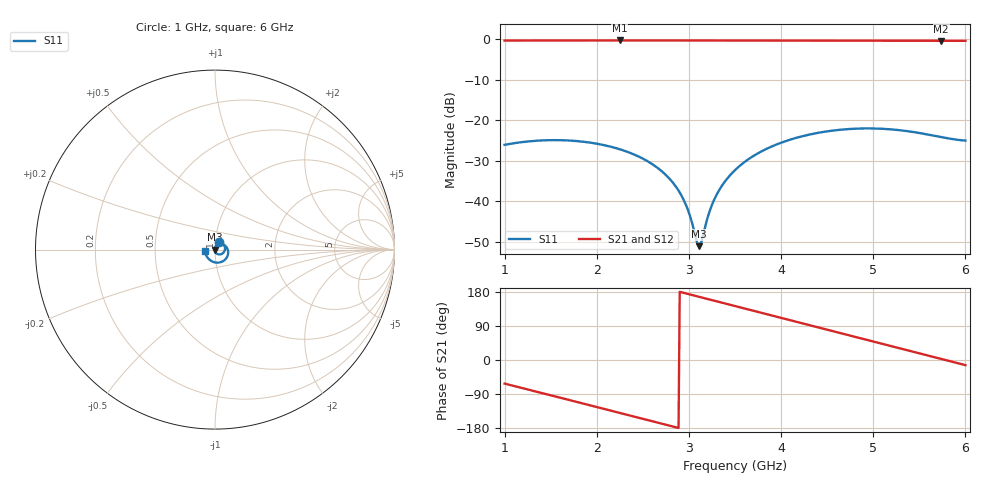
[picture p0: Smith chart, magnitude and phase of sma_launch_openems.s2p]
! kicad2ems openEMS FDTD (sma_launch); not computed (written as 0): S(P2,P2)
! ports: 1=P1, 2=P2
# Hz S RI R 50
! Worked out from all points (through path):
!   401 points, 1 GHz to 6 GHz, reference 50 ohm
!   highest |S21| = -0.29 dB at 2.25 GHz (marker M1); lowest = -0.4 dB at 5.737 GHz (marker M2)
!   group delay of S21, straight-line fit = 173 ps
!   lowest |S11| = -51.1 dB at 3.112 GHz (marker M3), VSWR 1.01, Z = 49.7 + j0.00857 ohm
!   |S11| at or under -10 dB: start of sweep to end of sweep
!   |S22| runs from - to - dB; largest |S21 - S12| = 0
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1e9  0.0223 0.0443  0.4486 -0.8533  0.4486 -0.8533  0 0
1.425e9  0.05 0.0262  0.0261 -0.9645  0.0261 -0.9645  0 0
1.8375e9  0.0543 -0.00371  -0.3934 -0.8825  -0.3934 -0.8825  0 0
2.25e9  0.0362 -0.0246  -0.7371 -0.6254  -0.7371 -0.6254  0 0
2.675e9  0.0101 -0.0229  -0.9382 -0.2315  -0.9382 -0.2315  0 0
2.8125e9  0.00359 -0.0173  -0.962 -0.0893  -0.962 -0.0893  0 0
2.925e9  -0.000187 -0.0114  -0.9656 0.0287  -0.9656 0.0287  0 0
3e9  -0.00181 -0.00698  -0.9599 0.1072  -0.9599 0.1072  0 0
3.0875e9  -0.00272 -0.00151  -0.9452 0.1978  -0.9452 0.1978  0 0
3.1125e9  -0.00278 8.62e-05  -0.9395 0.2234  -0.9395 0.2234  0 0
3.1375e9  -0.00274 0.00169  -0.933 0.2489  -0.933 0.2489  0 0
3.2125e9  -0.00208 0.0065  -0.9096 0.324  -0.9096 0.324  0 0
3.2875e9  -0.000593 0.0112  -0.88 0.3969  -0.88 0.3969  0 0
3.5e9  0.00791 0.0228  -0.7655 0.5878  -0.7655 0.5878  0 0
3.7e9  0.0207 0.0296  -0.6203 0.7389  -0.6203 0.7389  0 0
3.9375e9  0.0393 0.03  -0.4104 0.8726  -0.4104 0.8726  0 0
4.3375e9  0.067 0.00896  -0.0033 0.9632  -0.0033 0.9632  0 0
4.7375e9  0.0712 -0.0314  0.4036 0.8725  0.4036 0.8725  0 0
5.175e9  0.0357 -0.0686  0.757 0.5878  0.757 0.5878  0 0
5.4625e9  -0.00331 -0.0706  0.8995 0.3257  0.8995 0.3257  0 0
5.7375e9  -0.0381 -0.0488  0.9547 0.0466  0.9547 0.0466  0 0
6e9  -0.0551 -0.0101  0.9303 -0.2241  0.9303 -0.2241  0 0
